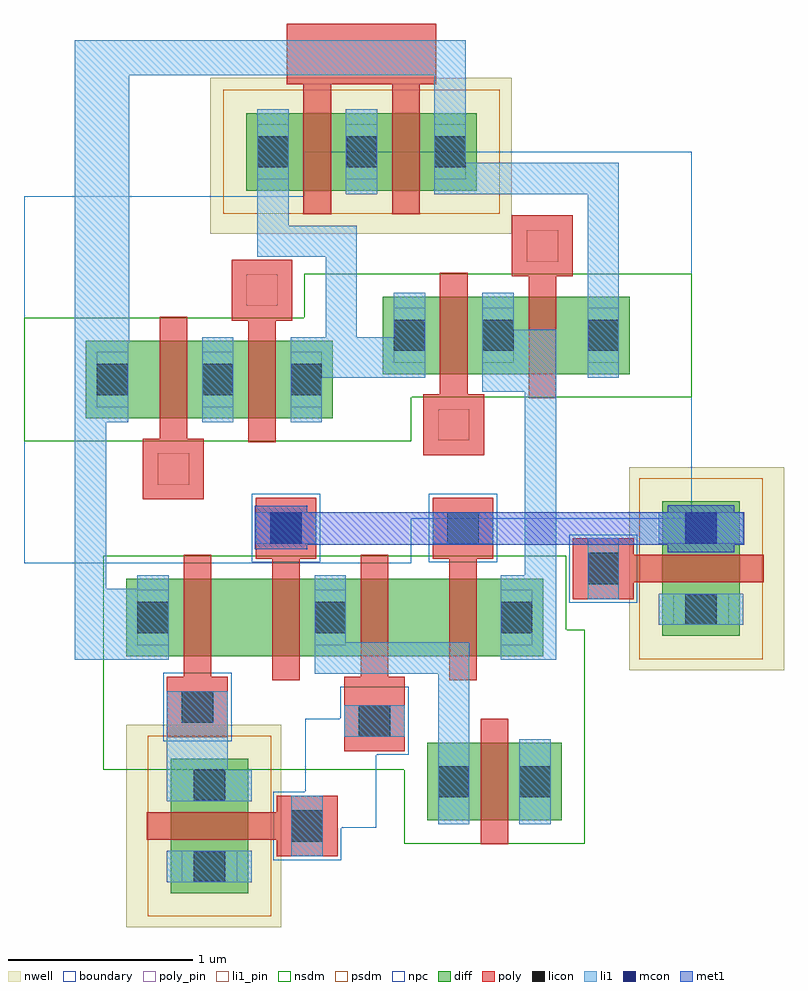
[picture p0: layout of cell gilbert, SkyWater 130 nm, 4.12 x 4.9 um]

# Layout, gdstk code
from math import pi, radians
import gdstk
lib = gdstk.Library(unit=1e-6, precision=1e-09)
def R(c, l, rs):  # rectangles x0, y0, x1, y1
    for r in rs: c.add(gdstk.rectangle(r[:2], r[2:], *l))
def A(c, l, x, y, w, h, nx, ny, dx, dy):  # array of equal rectangles
    R(c, l, [(x+i*dx, y+j*dy, x+i*dx+w, y+j*dy+h) for i in range(nx) for j in range(ny)])
nwell = (64, 20)
diff = (65, 20)
poly_pin = (66, 16)
poly = (66, 20)
licon = (66, 44)
li1_pin = (67, 16)
li1 = (67, 20)
mcon = (67, 44)
met1 = (68, 20)
nsdm = (93, 44)
psdm = (94, 20)
npc = (95, 20)
boundary = (235, 4)

pshort_wkc1cl = lib.new_cell('pshort_wkc1cl')
R(pshort_wkc1cl, nwell, [(-0.55,-0.21,0.55,0.63)])
R(pshort_wkc1cl, diff, [(-0.365,-0.03,0.365,0.39)])
R(pshort_wkc1cl, poly, [(-0.165,-0.515,0.165,-0.185), (-0.075,-0.185,0.075,0.52)])
R(pshort_wkc1cl, licon, [(-0.085,-0.435,0.085,-0.265), (-0.305,0.095,-0.135,0.265), (0.135,0.095,0.305,0.265)])
R(pshort_wkc1cl, li1_pin, [(-0.085,-0.435,0.085,-0.265), (0.135,0.03,0.305,0.33)])
R(pshort_wkc1cl, li1, [(-0.165,-0.435,0.165,-0.265), (-0.305,-0.05,-0.135,0.41), (0.135,-0.05,0.305,0.41)])
R(pshort_wkc1cl, psdm, [(-0.49,-0.155,0.49,0.515)])
R(pshort_wkc1cl, npc, [(-0.185,-0.535,0.185,-0.165)])
pshort_wkc1cl.add(gdstk.Label('Vbias3', (0,-0.35), layer=67, texttype=16))
pshort_wkc1cl.add(gdstk.Label('Vdd!', (0.22,0.18), layer=67, texttype=16))

scp = lib.new_cell('scp')
R(scp, diff, [(-0.715,-0.21,0.625,0.21)])
R(scp, poly_pin, [(-0.325,-0.57,-0.155,-0.4), (0.155,0.4,0.325,0.57)])
R(scp, poly, [(-0.405,-0.65,-0.075,-0.32), (0.165,-0.34,0.315,0.32), (-0.315,-0.32,-0.165,0.34), (0.075,0.32,0.405,0.65)])
R(scp, licon, [(-0.655,-0.085,-0.485,0.085), (-0.085,-0.085,0.085,0.085), (0.395,-0.085,0.565,0.085)])
R(scp, li1_pin, [(-0.655,-0.15,-0.485,0.15), (-0.085,-0.15,0.085,0.15), (0.395,-0.15,0.565,0.15)])
R(scp, li1, [(-0.655,-0.23,-0.485,0.23), (-0.085,-0.23,0.085,0.23), (0.395,-0.23,0.565,0.23)])
R(scp, nsdm, [(-1.05,-0.335,1.05,0.335)])
R(scp, boundary, [(-1.05,-0.995,1.05,0.995)])
scp.add(gdstk.Label('Vout_neg', (0.48,0), layer=67, texttype=16))
scp.add(gdstk.Label('Irf', (0,0), layer=67, texttype=16))
scp.add(gdstk.Label('Vout_pos', (-0.57,0), layer=67, texttype=16))
scp.add(gdstk.Label('Vlo_neg', (-0.24,-0.485), layer=66, texttype=16))
scp.add(gdstk.Label('Vlo_pos', (0.24,0.485), layer=66, texttype=16))

scp_cascode = lib.new_cell('scp_cascode')
R(scp_cascode, diff, [(-1.105,-0.21,1.155,0.21)])
R(scp_cascode, poly, [(0.075,-0.725,0.405,-0.32), (-0.885,-0.65,-0.555,-0.32), (-0.315,-0.34,-0.165,0.32), (0.645,-0.34,0.795,0.32), (-0.795,-0.32,-0.645,0.34), (0.165,-0.32,0.315,0.34), (-0.405,0.32,-0.075,0.65), (0.555,0.32,0.885,0.65)])
R(scp_cascode, licon, [(0.155,-0.645,0.325,-0.475), (-0.805,-0.57,-0.635,-0.4), (-1.045,-0.085,-0.875,0.085), (-0.085,-0.085,0.085,0.085), (0.925,-0.085,1.095,0.085), (-0.325,0.4,-0.155,0.57), (0.635,0.4,0.805,0.57)])
R(scp_cascode, li1_pin, [(0.155,-0.645,0.325,-0.475), (-0.805,-0.57,-0.635,-0.4), (-1.045,-0.15,-0.875,0.15), (-0.085,-0.15,0.085,0.15), (0.925,-0.15,1.095,0.15), (-0.325,0.4,-0.155,0.57), (0.635,0.4,0.805,0.57)])
R(scp_cascode, li1, [(0.075,-0.645,0.405,-0.475), (-0.885,-0.57,-0.555,-0.4), (-0.085,-0.305,0.01,-0.23), (-1.045,-0.23,-0.875,0.23), (-0.085,-0.23,0.085,0.23), (0.925,-0.23,1.095,0.23), (-0.405,0.4,-0.075,0.57), (0.555,0.4,0.885,0.57)])
R(scp_cascode, nsdm, [(-1.23,-0.335,1.28,0.335)])
R(scp_cascode, npc, [(0.055,-0.745,0.425,-0.375), (-0.905,-0.67,-0.535,-0.3), (-0.425,0.3,-0.055,0.67), (0.535,0.3,0.905,0.67)])
scp_cascode.add(gdstk.Label('M1', (-0.24,0.34), layer=66, texttype=16))
scp_cascode.add(gdstk.Label('M8', (0.72,0.34), layer=66, texttype=16))
scp_cascode.add(gdstk.Label('M2', (0.24,-0.3), layer=66, texttype=16))
scp_cascode.add(gdstk.Label('M7', (-0.72,-0.29), layer=66, texttype=16))
scp_cascode.add(gdstk.Label('Vrf_pos', (-0.24,0.485), layer=67, texttype=16))
scp_cascode.add(gdstk.Label('Vbias1', (-0.72,-0.485), layer=67, texttype=16))
scp_cascode.add(gdstk.Label('Vbias1', (0.72,0.485), layer=67, texttype=16))
scp_cascode.add(gdstk.Label('Mtail', (0,0), layer=67, texttype=16))
scp_cascode.add(gdstk.Label('Irf_pos', (-0.96,0), layer=67, texttype=16))
scp_cascode.add(gdstk.Label('Irf_neg', (1.01,0), layer=67, texttype=16))
scp_cascode.add(gdstk.Label('Vrf_neg', (0.24,-0.56), layer=67, texttype=16))

pshort_ncz0x8 = lib.new_cell('pshort_ncz0x8')
R(pshort_ncz0x8, nwell, [(-0.815,-0.4,0.82,0.445)])
R(pshort_ncz0x8, diff, [(-0.625,-0.21,0.625,0.21)])
R(pshort_ncz0x8, poly_pin, [(-0.405,-0.695,0.405,-0.365)])
R(pshort_ncz0x8, poly, [(-0.405,-0.695,0.405,-0.365), (-0.315,-0.365,-0.165,0.34), (0.165,-0.365,0.315,0.34)])
A(pshort_ncz0x8, licon, -0.565, -0.085, 0.17, 0.17, 3, 1, 0.48, 0)
A(pshort_ncz0x8, li1_pin, -0.565, -0.15, 0.17, 0.3, 3, 1, 0.48, 0)
A(pshort_ncz0x8, li1, -0.565, -0.23, 0.17, 0.46, 3, 1, 0.48, 0)
R(pshort_ncz0x8, psdm, [(-0.75,-0.335,0.75,0.335)])
pshort_ncz0x8.add(gdstk.Label('Vdd!', (0,0), layer=67, texttype=16))
pshort_ncz0x8.add(gdstk.Label('Vout_pos', (-0.48,0), layer=67, texttype=16))
pshort_ncz0x8.add(gdstk.Label('Vout_neg', (0.48,0), layer=67, texttype=16))
pshort_ncz0x8.add(gdstk.Label('Vbias2', (0,-0.53), layer=66, texttype=16))

nshort_c6xtbo = lib.new_cell('nshort_c6xtbo')
R(nshort_c6xtbo, diff, [(-0.365,-0.21,0.365,0.21)])
R(nshort_c6xtbo, poly, [(-0.075,-0.34,0.075,0.34)])
R(nshort_c6xtbo, licon, [(-0.305,-0.085,-0.135,0.085), (0.135,-0.085,0.305,0.085)])
R(nshort_c6xtbo, li1, [(-0.305,-0.23,-0.135,0.23), (0.135,-0.23,0.305,0.23)])
R(nshort_c6xtbo, nsdm, [(-0.49,-0.335,0.49,0.335)])

gilbert = lib.new_cell('gilbert')
R(gilbert, li1, [(-1.99,-1.555,-1.66,-1.125), (-0.52,-1.375,-0.35,-0.865), (-1.1,-0.865,-0.35,-0.785), (-2.49,-0.79,-2.09,-0.405), (-0.05,-0.79,0.12,0.665), (-1.02,-0.785,-0.35,-0.695), (-2.49,-0.405,-2.32,0.505), (-1.43,-0.16,-1.26,0.01), (0.755,-0.16,1.055,0.01), (-2.49,0.505,-2.37,0.88), (-0.28,0.665,0.12,1), (-1.15,0.74,-0.76,0.875), (-1.305,0.875,-0.76,0.96), (-2.49,0.88,-2.365,0.93), (-2.49,0.93,-2.195,2.38), (-1.13,0.96,-0.96,1.395), (0.29,1.12,0.37,1.2), (0.29,1.2,0.46,1.735), (-1.5,1.395,-0.96,1.565), (-1.5,1.565,-1.33,1.745), (-0.37,1.735,0.46,1.775), (-1.5,1.745,-1.42,1.815), (-1.37,1.745,-1.33,1.81), (-0.44,1.775,0.46,1.905), (-0.44,1.905,-0.37,1.945), (-0.54,2.12,-0.375,2.19), (-0.54,2.19,-0.37,2.38), (-2.49,2.38,-0.37,2.57)])
R(gilbert, mcon, [(-1.43,-0.16,-1.26,0.01), (0.82,-0.16,0.99,0.01)])
R(gilbert, met1, [(0.725,-0.205,1.085,-0.165), (-1.515,-0.19,-1.23,-0.165), (-1.515,-0.165,1.14,0.01), (-1.515,0.01,-1.23,0.045), (0.725,0.01,1.085,0.05)])
R(gilbert, nsdm, [(-2.335,-1.385,-0.705,-1.115), (-2.335,-1.115,0.275,-0.895), (0.175,-0.895,0.275,-0.625), (-0.965,0.395,-0.675,0.635), (-0.965,0.635,-0.945,1.065), (-1.235,1.065,-0.945,1.305)])
R(gilbert, npc, [(-1.045,-1.7,-0.855,-1.505), (-1.24,-1.505,-0.855,-1.305), (-1.24,-1.305,-1.05,-1.11)])
gilbert.add(gdstk.Reference(pshort_wkc1cl, (0.725,-0.295), rotation=3*pi/2))
gilbert.add(gdstk.Reference(pshort_wkc1cl, (-1.58,-1.69), rotation=3*pi/2, x_reflection=True))
gilbert.add(gdstk.Reference(scp, (-0.195,0.97), rotation=pi))
gilbert.add(gdstk.Reference(scp, (-1.715,0.73)))
gilbert.add(gdstk.Reference(scp_cascode, (-1.105,-0.56)))
gilbert.add(gdstk.Reference(pshort_ncz0x8, (-0.935,1.965), rotation=pi))
gilbert.add(gdstk.Reference(nshort_c6xtbo, (-0.215,-1.45), rotation=pi))

lib.write_gds('gilbert.gds')
